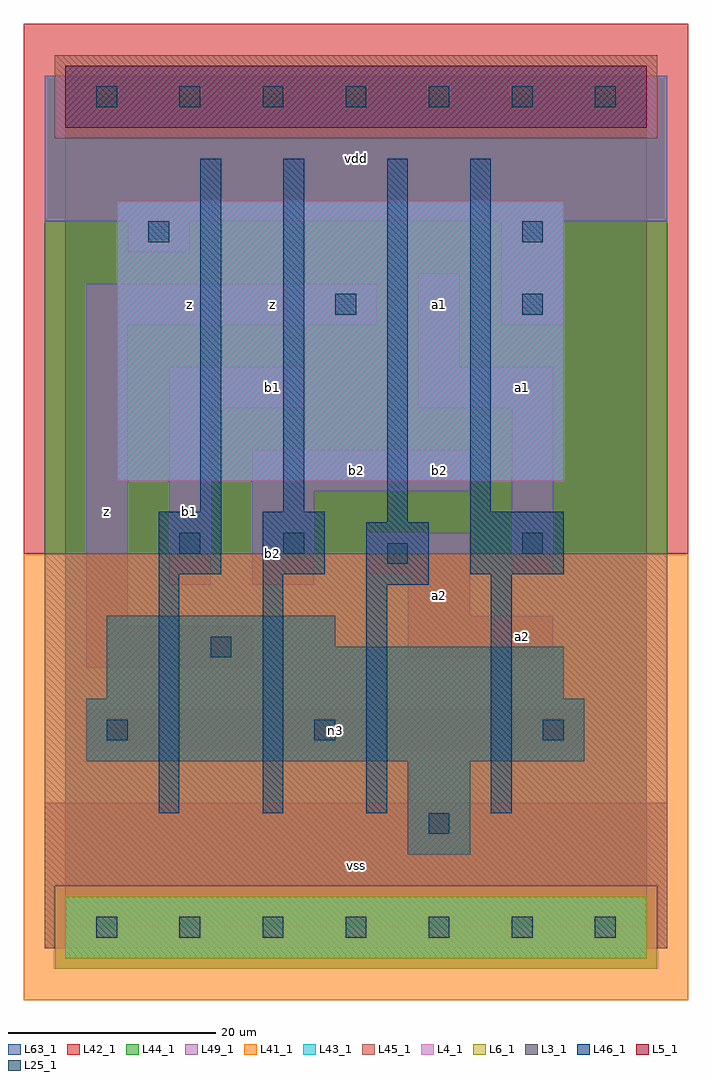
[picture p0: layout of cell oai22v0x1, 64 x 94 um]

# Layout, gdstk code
import gdstk
lib = gdstk.Library(unit=1e-6, precision=1e-09)
def R(c, l, rs):  # rectangles x0, y0, x1, y1
    for r in rs: c.add(gdstk.rectangle(r[:2], r[2:], *l))
def A(c, l, x, y, w, h, nx, ny, dx, dy):  # array of equal rectangles
    R(c, l, [(x+i*dx, y+j*dy, x+i*dx+w, y+j*dy+h) for i in range(nx) for j in range(ny)])
L3_1 = (3, 1)
L4_1 = (4, 1)
L5_1 = (5, 1)
L6_1 = (6, 1)
L25_1 = (25, 1)
L41_1 = (41, 1)
L42_1 = (42, 1)
L43_1 = (43, 1)
L44_1 = (44, 1)
L45_1 = (45, 1)
L46_1 = (46, 1)
L49_1 = (49, 1)
L63_1 = (63, 1)

oai22v0x1 = lib.new_cell('oai22v0x1')
R(oai22v0x1, L3_1, [(33,7,39,16), (2,16,50,22), (4,22,48,27), (4,27,26,30)])
R(oai22v0x1, L4_1, [(5,43,48,70)])
R(oai22v0x1, L5_1, [(0,77,56,83)])
R(oai22v0x1, L6_1, [(0,-3,56,3), (0,-3,56,3)])
A(oai22v0x1, L25_1, 3, -1, 2, 2, 7, 2, 8, 80)
R(oai22v0x1, L25_1, [(35,9,37,11), (4,18,6,20), (24,18,26,20), (46,18,48,20), (14,26,16,28), (31,35,33,37), (11,36,13,38), (21,36,23,38), (44,36,46,38), (26,59,28,61), (44,59,46,61), (8,66,10,68), (44,66,46,68)])
R(oai22v0x1, L41_1, [(-4,-7,60,36)])
R(oai22v0x1, L42_1, [(-4,36,60,87)])
R(oai22v0x1, L43_1, [(0,-3,56,3), (33,7,39,16), (2,16,50,22), (4,22,48,27), (4,27,26,30), (5,43,48,70), (0,77,56,83)])
R(oai22v0x1, L44_1, [(-1,-4,57,4), (-2,36,58,76), (-2,76,-1,82), (57,76,58,82)])
R(oai22v0x1, L45_1, [(-2,-2,-1,4), (57,-2,58,4), (-2,4,58,36), (-1,76,57,84)])
R(oai22v0x1, L46_1, [(9,11,11,34), (19,11,21,34), (29,11,31,33), (41,11,43,34), (29,33,35,39), (9,34,15,40), (19,34,25,40), (39,34,48,40), (31,39,33,74), (13,40,15,74), (21,40,23,74), (39,40,41,74)])
R(oai22v0x1, L49_1, [(-2,-2,58,12), (2,17,50,21), (2,25,18,29), (33,26,47,30), (2,29,6,58), (33,30,39,34), (10,33,14,50), (18,33,24,42), (29,34,39,38), (43,34,47,50), (18,42,39,46), (10,50,23,54), (34,50,47,54), (34,54,38,63), (2,58,30,62), (42,58,48,68), (6,65,12,68), (-2,68,58,82)])
R(oai22v0x1, L63_1, [(0,0,56,80)])
oai22v0x1.add(gdstk.Label('z', (4,40), layer=49, texttype=1))
oai22v0x1.add(gdstk.Label('b1', (12,40), layer=49, texttype=1))
oai22v0x1.add(gdstk.Label('z', (12,60), layer=49, texttype=1))
oai22v0x1.add(gdstk.Label('vss', (28,6), layer=49, texttype=1))
oai22v0x1.add(gdstk.Label('b2', (20,36), layer=49, texttype=1))
oai22v0x1.add(gdstk.Label('b2', (28,44), layer=49, texttype=1))
oai22v0x1.add(gdstk.Label('b1', (20,52), layer=49, texttype=1))
oai22v0x1.add(gdstk.Label('z', (20,60), layer=49, texttype=1))
oai22v0x1.add(gdstk.Label('vdd', (28,74), layer=49, texttype=1))
oai22v0x1.add(gdstk.Label('a2', (44,28), layer=49, texttype=1))
oai22v0x1.add(gdstk.Label('a2', (36,32), layer=49, texttype=1))
oai22v0x1.add(gdstk.Label('b2', (36,44), layer=49, texttype=1))
oai22v0x1.add(gdstk.Label('a1', (44,52), layer=49, texttype=1))
oai22v0x1.add(gdstk.Label('a1', (36,60), layer=49, texttype=1))
oai22v0x1.add(gdstk.Label('n3', (26,19), layer=49, texttype=1))

lib.write_gds('oai22v0x1.gds')
